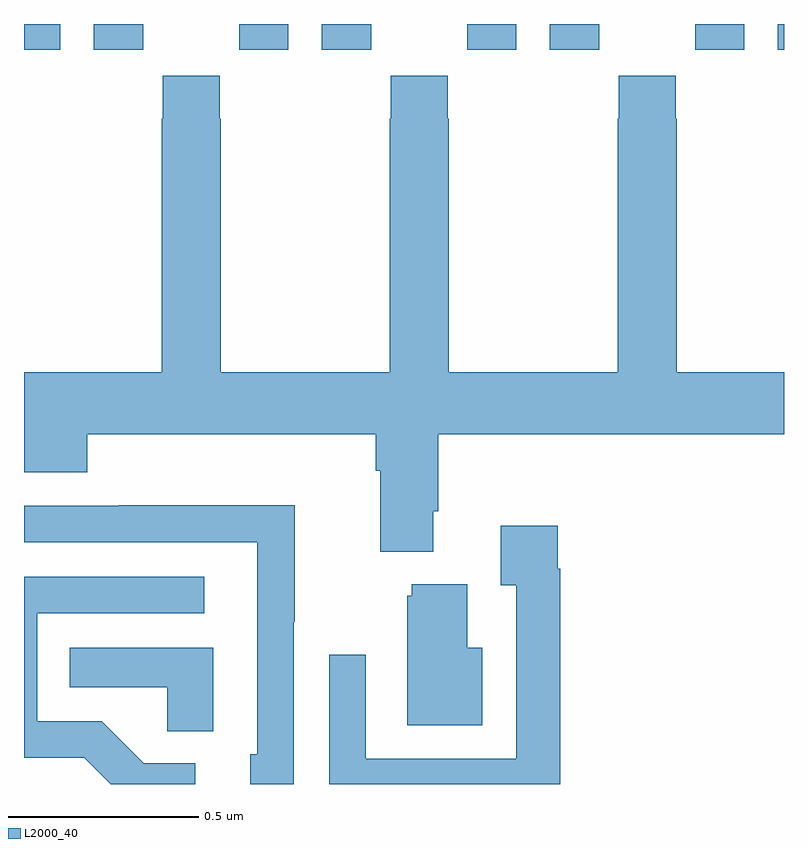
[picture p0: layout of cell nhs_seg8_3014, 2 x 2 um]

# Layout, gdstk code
import gdstk
lib = gdstk.Library(unit=1e-6, precision=1e-09)
def R(c, l, rs):  # rectangles x0, y0, x1, y1
    for r in rs: c.add(gdstk.rectangle(r[:2], r[2:], *l))
def P(c, l, *ps):  # polygons
    for p in ps: c.add(gdstk.Polygon(p, *l))
L2000_40 = (2000, 40)

nhs_seg8_3014 = lib.new_cell('nhs_seg8_3014')
R(nhs_seg8_3014, L2000_40, [(151,1130.832,151.096,1130.9), (151.184,1130.832,151.314,1130.9), (151.566,1130.832,151.696,1130.9), (151.784,1130.832,151.914,1130.9), (152.166,1130.832,152.296,1130.9), (152.384,1130.832,152.514,1130.9), (152.766,1130.832,152.896,1130.9), (152.984,1130.832,153,1130.9)])
P(nhs_seg8_3014, L2000_40, [(152.077,1129.618),(152.09,1129.618),(152.09,1129.82),(153,1129.82),(153,1129.984),(152.718,1129.984),(152.718,1130.651),(152.715,1130.651),(152.715,1130.764),(152.565,1130.764),(152.565,1130.651),(152.563,1130.651),(152.563,1129.984),(152.118,1129.984),(152.118,1130.651),(152.115,1130.651),(152.115,1130.764),(151.965,1130.764),(151.965,1130.651),(151.963,1130.651),(151.963,1129.984),(151.518,1129.984),(151.518,1130.651),(151.515,1130.651),(151.515,1130.764),(151.365,1130.764),(151.365,1130.651),(151.363,1130.651),(151.363,1129.984),(151,1129.984),(151,1129.82),(151.001,1129.82),(151.001,1129.721),(151.166,1129.721),(151.166,1129.82),(151.925,1129.82),(151.925,1129.724),(151.937,1129.724),(151.937,1129.511),(152.077,1129.511)],
  [(151.71,1129.327),(151.713,1129.327),(151.713,1129.634),(151.249,1129.634),(151.249,1129.632),(151,1129.632),(151,1129.536),(151.614,1129.536),(151.614,1128.978),(151.595,1128.978),(151.595,1128.9),(151.71,1128.9)],
  [(152.411,1129.466),(152.404,1129.466),(152.404,1129.579),(152.255,1129.579),(152.255,1129.423),(152.295,1129.423),(152.295,1128.966),(151.899,1128.966),(151.899,1129.24),(151.803,1129.24),(151.803,1128.9),(152.411,1128.9)],
  [(151.45,1128.954),(151.315,1128.954),(151.204,1129.065),(151.035,1129.065),(151.035,1129.35),(151.474,1129.35),(151.474,1129.446),(151,1129.446),(151,1128.969),(151.158,1128.969),(151.228,1128.9),(151.45,1128.9)],
  [(152.206,1129.258),(152.167,1129.258),(152.167,1129.426),(152.021,1129.426),(152.021,1129.395),(152.009,1129.395),(152.009,1129.055),(152.206,1129.055)],
  [(151.498,1129.258),(151.12,1129.258),(151.12,1129.154),(151.377,1129.154),(151.377,1129.039),(151.498,1129.039)])

lib.write_gds('nhs_seg8_3014.gds')
